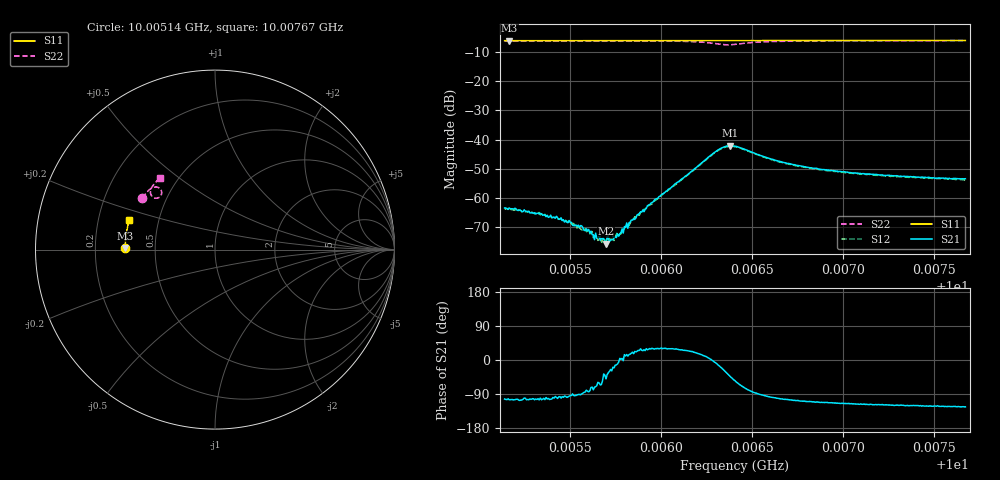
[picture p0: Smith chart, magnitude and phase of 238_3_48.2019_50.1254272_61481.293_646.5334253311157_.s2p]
#  HZ  S  RI  R  50.00
! Rohde & Schwarz Vector Network Analyzer
! Rohde-Schwarz,ZNB20-2Port,1311601062101988,3.16
! Created: UTC 3/20/2024, 11:46:45 AM
! freq[Hz]  re:S11  im:S11  re:S21  im:S21  re:S12  im:S12  re:S22  im:S22
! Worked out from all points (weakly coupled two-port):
!   401 points, 10.00514 GHz to 10.00767 GHz, reference 50 ohm
!   highest |S21| = -42.12 dB at 10.00638 GHz (marker M1); lowest = -75.8 dB at 10.0057 GHz (marker M2)
!   lowest |S11| = -6.0 dB at 10.00517 GHz (marker M3), VSWR 3.00, Z = 16.7 + j0.375 ohm
!   |S11| at or under -10 dB: nowhere
!   |S22| runs from -7.4 to -6.0 dB; largest |S21 - S12| = 0.00044
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1.0005141e10  -0.5 0.00675  -0.000151 -0.000651  -0.000155 -0.000636  -0.4041 0.2863
1.0005166e10  -0.4999 0.00843  -0.000171 -0.000641  -0.000136 -0.00066  -0.403 0.2877
1.0005438e10  -0.4999 0.0261  -5.42e-05 -0.000423  -2.83e-05 -0.000428  -0.3921 0.304
1.0005508e10  -0.4998 0.0307  -2.3e-05 -0.000376  -1.46e-06 -0.000356  -0.3889 0.308
1.0005565e10  -0.4997 0.0343  3.22e-06 -0.000328  1.57e-05 -0.000279  -0.3865 0.3115
1.0005603e10  -0.4996 0.0368  2.96e-05 -0.000283  6.72e-05 -0.000237  -0.3844 0.3138
1.0005634e10  -0.4995 0.0389  5.84e-05 -0.000181  7.38e-05 -0.000203  -0.3829 0.316
1.0005691e10  -0.4993 0.0426  0.000138 -0.000114  0.000102 -0.000131  -0.3799 0.3193
1.0005698e10  -0.4992 0.0429  0.000104 -0.000124  0.000155 -0.000104  -0.3795 0.3198
1.0005723e10  -0.4992 0.0447  0.000171 -7.94e-05  0.000149 -0.000108  -0.3783 0.3213
1.0005729e10  -0.4991 0.045  0.000167 -9.17e-05  0.000191 -6.15e-05  -0.3778 0.3218
1.0005767e10  -0.499 0.0475  0.000218 -2.11e-05  0.000226 7.76e-06  -0.3757 0.3241
1.0005837e10  -0.4986 0.052  0.000393 0.000128  0.000373 0.000141  -0.3714 0.3287
1.0005989e10  -0.4977 0.0619  0.00091 0.000516  0.000862 0.000555  -0.3594 0.3389
1.0006299e10  -0.495 0.0818  0.00611 -0.000755  0.00602 -0.000431  -0.2997 0.33
1.0006343e10  -0.4945 0.0843  0.00667 -0.00321  0.00669 -0.00279  -0.2984 0.3075
1.0006381e10  -0.4942 0.0865  0.00564 -0.00543  0.00581 -0.00502  -0.3114 0.2906
1.0006406e10  -0.4941 0.088  0.00444 -0.00627  0.00463 -0.00595  -0.3241 0.2862
1.0006634e10  -0.4924 0.1027  -0.000801 -0.00427  -0.00057 -0.00423  -0.359 0.3281
1.0006831e10  -0.49 0.1151  -0.00113 -0.00304  -0.000958 -0.00301  -0.3505 0.3496
1.0007255e10  -0.4839 0.1418  -0.00118 -0.00214  -0.00106 -0.00213  -0.3288 0.377
1.0007672e10  -0.4764 0.1677  -0.00117 -0.00177  -0.00103 -0.00175  -0.3076 0.3977
